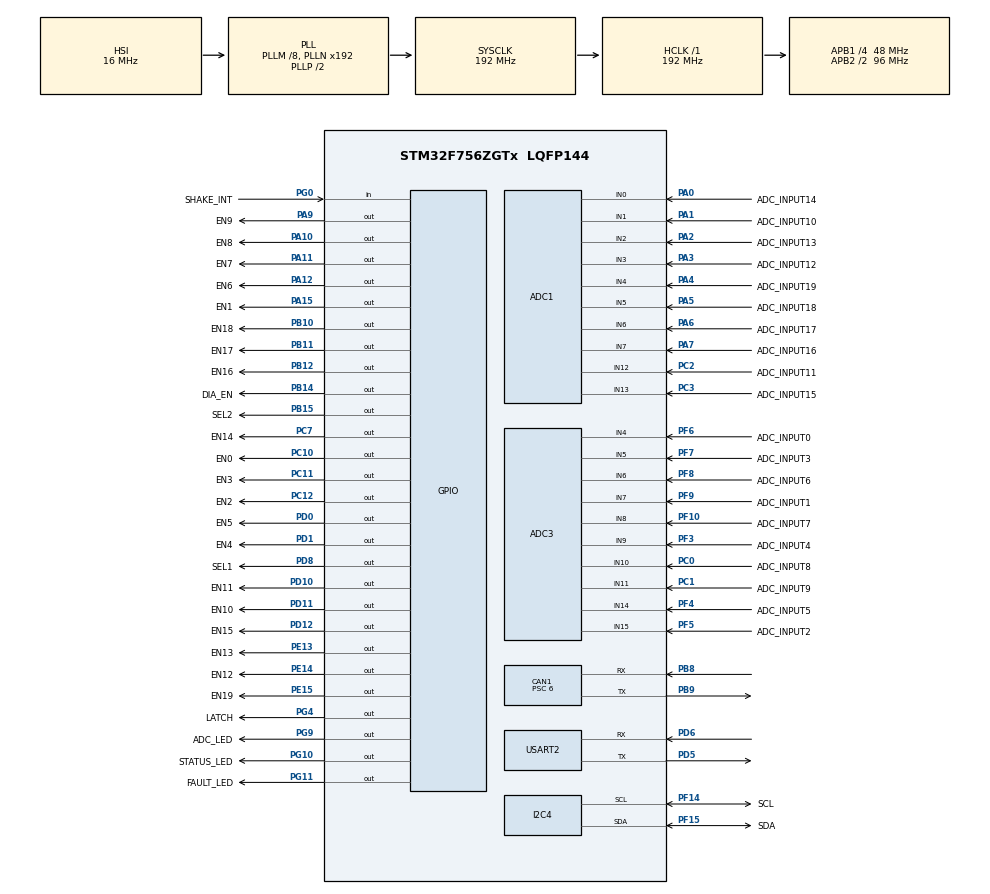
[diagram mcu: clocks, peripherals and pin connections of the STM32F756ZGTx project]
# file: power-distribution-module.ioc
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ADC1.Channel-10\#ChannelRegularConversion=ADC_CHANNEL_7
ADC1.Channel-11\#ChannelRegularConversion=ADC_CHANNEL_12
ADC1.Channel-12\#ChannelRegularConversion=ADC_CHANNEL_13
ADC1.Channel-2\#ChannelRegularConversion=ADC_CHANNEL_0
ADC1.Channel-3\#ChannelRegularConversion=ADC_CHANNEL_1
ADC1.Channel-4\#ChannelRegularConversion=ADC_CHANNEL_2
ADC1.Channel-5\#ChannelRegularConversion=ADC_CHANNEL_3
ADC1.Channel-6\#ChannelRegularConversion=ADC_CHANNEL_4
ADC1.Channel-8\#ChannelRegularConversion=ADC_CHANNEL_5
ADC1.Channel-9\#ChannelRegularConversion=ADC_CHANNEL_6
ADC1.ClockPrescaler=ADC_CLOCK_SYNC_PCLK_DIV4
ADC1.ContinuousConvMode=ENABLE
ADC1.DMAContinuousRequests=ENABLE
ADC1.DiscontinuousConvMode=DISABLE
ADC1.EOCSelection=ADC_EOC_SEQ_CONV
ADC1.NbrOfConversion=10
ADC1.NbrOfConversionFlag=1
ADC1.Rank-10\#ChannelRegularConversion=8
ADC1.Rank-11\#ChannelRegularConversion=9
ADC1.Rank-12\#ChannelRegularConversion=10
ADC1.Rank-2\#ChannelRegularConversion=1
ADC1.Rank-3\#ChannelRegularConversion=2
ADC1.Rank-4\#ChannelRegularConversion=3
ADC1.Rank-5\#ChannelRegularConversion=4
ADC1.Rank-6\#ChannelRegularConversion=5
ADC1.Rank-8\#ChannelRegularConversion=6
ADC1.Rank-9\#ChannelRegularConversion=7
ADC1.SamplingTime-10\#ChannelRegularConversion=ADC_SAMPLETIME_15CYCLES
ADC1.SamplingTime-11\#ChannelRegularConversion=ADC_SAMPLETIME_15CYCLES
ADC1.SamplingTime-12\#ChannelRegularConversion=ADC_SAMPLETIME_15CYCLES
ADC1.SamplingTime-2\#ChannelRegularConversion=ADC_SAMPLETIME_15CYCLES
ADC1.SamplingTime-3\#ChannelRegularConversion=ADC_SAMPLETIME_15CYCLES
ADC1.SamplingTime-4\#ChannelRegularConversion=ADC_SAMPLETIME_15CYCLES
ADC1.SamplingTime-5\#ChannelRegularConversion=ADC_SAMPLETIME_15CYCLES
ADC1.SamplingTime-6\#ChannelRegularConversion=ADC_SAMPLETIME_15CYCLES
ADC1.SamplingTime-8\#ChannelRegularConversion=ADC_SAMPLETIME_15CYCLES
ADC1.SamplingTime-9\#ChannelRegularConversion=ADC_SAMPLETIME_15CYCLES
ADC1.ScanConvMode=ADC_SCAN_ENABLE
ADC1.master=1
ADC3.Channel-0\#ChannelRegularConversion=ADC_CHANNEL_4
ADC3.Channel-1\#ChannelRegularConversion=ADC_CHANNEL_5
ADC3.Channel-2\#ChannelRegularConversion=ADC_CHANNEL_6
ADC3.Channel-3\#ChannelRegularConversion=ADC_CHANNEL_7
ADC3.Channel-4\#ChannelRegularConversion=ADC_CHANNEL_8
ADC3.Channel-5\#ChannelRegularConversion=ADC_CHANNEL_9
ADC3.Channel-6\#ChannelRegularConversion=ADC_CHANNEL_10
ADC3.Channel-7\#ChannelRegularConversion=ADC_CHANNEL_11
ADC3.Channel-8\#ChannelRegularConversion=ADC_CHANNEL_14
ADC3.Channel-9\#ChannelRegularConversion=ADC_CHANNEL_15
ADC3.ClockPrescaler=ADC_CLOCK_SYNC_PCLK_DIV4
ADC3.ContinuousConvMode=ENABLE
ADC3.DMAContinuousRequests=ENABLE
ADC3.DataAlign=ADC_DATAALIGN_RIGHT
ADC3.DiscontinuousConvMode=DISABLE
ADC3.EOCSelection=ADC_EOC_SINGLE_CONV
ADC3.InjNumberOfConversion=0
ADC3.NbrOfConversion=10
ADC3.NbrOfConversionFlag=1
ADC3.Rank-0\#ChannelRegularConversion=1
ADC3.Rank-1\#ChannelRegularConversion=2
ADC3.Rank-2\#ChannelRegularConversion=3
ADC3.Rank-3\#ChannelRegularConversion=4
ADC3.Rank-4\#ChannelRegularConversion=5
ADC3.Rank-5\#ChannelRegularConversion=6
ADC3.Rank-6\#ChannelRegularConversion=7
ADC3.Rank-7\#ChannelRegularConversion=8
ADC3.Rank-8\#ChannelRegularConversion=9
ADC3.Rank-9\#ChannelRegularConversion=10
ADC3.SamplingTime-0\#ChannelRegularConversion=ADC_SAMPLETIME_15CYCLES
ADC3.SamplingTime-1\#ChannelRegularConversion=ADC_SAMPLETIME_15CYCLES
ADC3.SamplingTime-2\#ChannelRegularConversion=ADC_SAMPLETIME_15CYCLES
ADC3.SamplingTime-3\#ChannelRegularConversion=ADC_SAMPLETIME_15CYCLES
ADC3.SamplingTime-4\#ChannelRegularConversion=ADC_SAMPLETIME_15CYCLES
ADC3.SamplingTime-5\#ChannelRegularConversion=ADC_SAMPLETIME_15CYCLES
ADC3.SamplingTime-6\#ChannelRegularConversion=ADC_SAMPLETIME_15CYCLES
ADC3.SamplingTime-7\#ChannelRegularConversion=ADC_SAMPLETIME_15CYCLES
ADC3.SamplingTime-8\#ChannelRegularConversion=ADC_SAMPLETIME_15CYCLES
ADC3.SamplingTime-9\#ChannelRegularConversion=ADC_SAMPLETIME_15CYCLES
ADC3.ScanConvMode=ADC_SCAN_ENABLE
CAN1.ABOM=ENABLE
CAN1.AWUM=ENABLE
CAN1.BS1=CAN_BS1_6TQ
CAN1.CalculateBaudRate=1000000
CAN1.CalculateTimeBit=1000
CAN1.CalculateTimeQuantum=125.0
CAN1.Mode=CAN_MODE_NORMAL
CAN1.Prescaler=6
Dma.ADC1.0.Direction=DMA_PERIPH_TO_MEMORY
Dma.ADC1.0.FIFOMode=DMA_FIFOMODE_DISABLE
Dma.ADC1.0.Instance=DMA2_Stream0
Dma.ADC1.0.MemDataAlignment=DMA_MDATAALIGN_HALFWORD
Dma.ADC1.0.MemInc=DMA_MINC_ENABLE
Dma.ADC1.0.Mode=DMA_CIRCULAR
Dma.ADC1.0.PeriphDataAlignment=DMA_PDATAALIGN_HALFWORD
Dma.ADC1.0.PeriphInc=DMA_PINC_DISABLE
Dma.ADC1.0.Priority=DMA_PRIORITY_HIGH
Dma.ADC3.1.Direction=DMA_PERIPH_TO_MEMORY
Dma.ADC3.1.FIFOMode=DMA_FIFOMODE_DISABLE
Dma.ADC3.1.Instance=DMA2_Stream1
Dma.ADC3.1.MemDataAlignment=DMA_MDATAALIGN_HALFWORD
Dma.ADC3.1.MemInc=DMA_MINC_ENABLE
Dma.ADC3.1.Mode=DMA_CIRCULAR
Dma.ADC3.1.PeriphDataAlignment=DMA_PDATAALIGN_HALFWORD
Dma.ADC3.1.PeriphInc=DMA_PINC_DISABLE
Dma.ADC3.1.Priority=DMA_PRIORITY_LOW
Dma.Request0=ADC1
Dma.Request1=ADC3
FREERTOS.Tasks01=taskMain_Loop,0,256,task_main_loop,Default,NULL,Dynamic,NULL,NULL;taskGCAN_TX,0,256,taskGCAN_TX_loop,Default,NULL,Dynamic,NULL,NULL;taskGCAN_RX,-3,256,taskGCAN_RX_loop,Default,NULL,Dynamic,NULL,NULL
FREERTOS.configMINIMAL_STACK_SIZE=256
FREERTOS.configTOTAL_HEAP_SIZE=10000
FREERTOS.configUSE_NEWLIB_REENTRANT=1
I2C4.Timing=0x20303E5D
Mcu.Family=STM32F7
Mcu.Name=STM32F756ZGTx
Mcu.Package=LQFP144
NVIC.CAN1_RX0_IRQn=true\:5\:0\:false\:false\:true\:true\:true\:true\:true
NVIC.CAN1_RX1_IRQn=true\:5\:0\:false\:false\:true\:true\:true\:true\:true
NVIC.CAN1_TX_IRQn=true\:5\:0\:false\:false\:true\:true\:true\:true\:true
NVIC.DMA2_Stream0_IRQn=true\:5\:0\:false\:false\:true\:false\:false\:true\:true
NVIC.DMA2_Stream1_IRQn=true\:5\:0\:false\:false\:true\:false\:false\:true\:true
NVIC.PriorityGroup=NVIC_PRIORITYGROUP_4
NVIC.TIM1_UP_TIM10_IRQn=true\:5\:0\:false\:false\:true\:true\:true\:true\:true
NVIC.TIM6_DAC_IRQn=true\:0\:0\:false\:false\:true\:false\:false\:true\:true
NVIC.TimeBase=TIM6_DAC_IRQn
NVIC.TimeBaseIP=TIM6
PA0/WKUP.GPIO_Label=ADC_INPUT14
PA0/WKUP.Signal=ADCx_IN0
PA1.GPIO_Label=ADC_INPUT10
PA1.Signal=ADCx_IN1
PA10.GPIO_Label=EN8
PA10.Signal=GPIO_Output
PA11.GPIO_Label=EN7
PA11.Signal=GPIO_Output
PA12.GPIO_Label=EN6
PA12.Signal=GPIO_Output
PA13.Mode=Trace_Asynchronous_SW
PA13.Signal=SYS_JTMS-SWDIO
PA14.Mode=Trace_Asynchronous_SW
PA14.Signal=SYS_JTCK-SWCLK
PA15.GPIO_Label=EN1
PA15.Signal=GPIO_Output
PA2.GPIO_Label=ADC_INPUT13
PA2.Signal=ADCx_IN2
PA3.GPIO_Label=ADC_INPUT12
PA3.Signal=ADCx_IN3
PA4.GPIO_Label=ADC_INPUT19
PA4.Signal=ADCx_IN4
PA5.GPIO_Label=ADC_INPUT18
PA5.Signal=ADCx_IN5
PA6.GPIO_Label=ADC_INPUT17
PA6.Signal=ADCx_IN6
PA7.GPIO_Label=ADC_INPUT16
PA7.Signal=ADCx_IN7
PA9.GPIO_Label=EN9
PA9.Signal=GPIO_Output
PB10.GPIO_Label=EN18
PB10.Signal=GPIO_Output
PB11.GPIO_Label=EN17
PB11.Signal=GPIO_Output
PB12.GPIO_Label=EN16
PB12.Signal=GPIO_Output
PB14.GPIO_Label=DIA_EN
PB14.Signal=GPIO_Output
PB15.GPIO_Label=SEL2
PB15.Signal=GPIO_Output
PB3.Mode=Trace_Asynchronous_SW
PB3.Signal=SYS_JTDO-SWO
PB8.Mode=CAN_Activate
PB8.Signal=CAN1_RX
PB9.Mode=CAN_Activate
PB9.Signal=CAN1_TX
PC0.GPIO_Label=ADC_INPUT8
PC0.Signal=ADCx_IN10
PC1.GPIO_Label=ADC_INPUT9
PC1.Signal=ADCx_IN11
PC10.GPIO_Label=EN0
PC10.Signal=GPIO_Output
PC11.GPIO_Label=EN3
PC11.Signal=GPIO_Output
PC12.GPIO_Label=EN2
PC12.Signal=GPIO_Output
PC2.GPIO_Label=ADC_INPUT11
PC2.Signal=ADCx_IN12
PC3.GPIO_Label=ADC_INPUT15
PC3.Signal=ADCx_IN13
PC7.GPIO_Label=EN14
PC7.Signal=GPIO_Output
PD0.GPIO_Label=EN5
PD0.Signal=GPIO_Output
PD1.GPIO_Label=EN4
PD1.Signal=GPIO_Output
PD10.GPIO_Label=EN11
PD10.Signal=GPIO_Output
PD11.GPIO_Label=EN10
PD11.Signal=GPIO_Output
PD12.GPIO_Label=EN15
PD12.Signal=GPIO_Output
PD5.Mode=Asynchronous
PD5.Signal=USART2_TX
PD6.Mode=Asynchronous
PD6.Signal=USART2_RX
PD8.GPIO_Label=SEL1
PD8.Signal=GPIO_Output
PE13.GPIO_Label=EN13
PE13.Signal=GPIO_Output
PE14.GPIO_Label=EN12
PE14.Signal=GPIO_Output
PE15.GPIO_Label=EN19
PE15.Signal=GPIO_Output
PF10.GPIO_Label=ADC_INPUT7
PF10.Mode=IN8
PF10.Signal=ADC3_IN8
PF14.GPIO_Label=SCL
PF14.GPIO_Pu=GPIO_PULLUP
PF14.Mode=I2C
PF14.Signal=I2C4_SCL
PF15.GPIO_Label=SDA
PF15.GPIO_Pu=GPIO_PULLUP
PF15.Mode=I2C
PF15.Signal=I2C4_SDA
PF3.GPIO_Label=ADC_INPUT4
PF3.Mode=IN9
PF3.Signal=ADC3_IN9
PF4.GPIO_Label=ADC_INPUT5
PF4.Mode=IN14
PF4.Signal=ADC3_IN14
PF5.GPIO_Label=ADC_INPUT2
PF5.Mode=IN15
PF5.Signal=ADC3_IN15
PF6.GPIO_Label=ADC_INPUT0
PF6.Mode=IN4
PF6.Signal=ADC3_IN4
PF7.GPIO_Label=ADC_INPUT3
PF7.Mode=IN5
PF7.Signal=ADC3_IN5
PF8.GPIO_Label=ADC_INPUT6
PF8.Mode=IN6
PF8.Signal=ADC3_IN6
PF9.GPIO_Label=ADC_INPUT1
PF9.Mode=IN7
PF9.Signal=ADC3_IN7
PG0.GPIO_Label=SHAKE_INT
PG0.Signal=GPIO_Input
PG10.GPIO_Label=STATUS_LED
PG10.Signal=GPIO_Output
PG11.GPIO_Label=FAULT_LED
PG11.Signal=GPIO_Output
PG4.GPIO_Label=LATCH
PG4.Signal=GPIO_Output
PG9.GPIO_Label=ADC_LED
PG9.Signal=GPIO_Output
PH0/OSC_IN.Mode=HSE-External-Clock-Source
PH0/OSC_IN.Signal=RCC_OSC_IN
PH1/OSC_OUT.Mode=HSE-External-Clock-Source
PH1/OSC_OUT.Signal=RCC_OSC_OUT
ProjectManager.HeapSize=0x200
ProjectManager.StackSize=0x400
ProjectManager.TargetToolchain=STM32CubeIDE
RCC.AHBFreq_Value=192000000
RCC.APB1CLKDivider=RCC_HCLK_DIV4
RCC.APB1Freq_Value=48000000
RCC.APB1TimFreq_Value=96000000
RCC.APB2CLKDivider=RCC_HCLK_DIV2
RCC.APB2Freq_Value=96000000
RCC.APB2TimFreq_Value=192000000
RCC.CortexFreq_Value=192000000
RCC.HCLKFreq_Value=192000000
RCC.HSE_VALUE=24000000
RCC.HSI_VALUE=16000000
RCC.LSE_VALUE=32768
RCC.PLLM=8
RCC.SYSCLKFreq_VALUE=192000000
RCC.SYSCLKSource=RCC_SYSCLKSOURCE_PLLCLK
RCC.USBFreq_Value=192000000
RCC.VCOOutputFreq_Value=384000000
SH.ADCx_IN0.0=ADC1_IN0,IN0
SH.ADCx_IN1.0=ADC1_IN1,IN1
SH.ADCx_IN10.0=ADC3_IN10,IN10
SH.ADCx_IN11.0=ADC3_IN11,IN11
SH.ADCx_IN12.0=ADC1_IN12,IN12
SH.ADCx_IN13.0=ADC1_IN13,IN13
SH.ADCx_IN2.0=ADC1_IN2,IN2
SH.ADCx_IN3.0=ADC1_IN3,IN3
SH.ADCx_IN4.0=ADC1_IN4,IN4
SH.ADCx_IN5.0=ADC1_IN5,IN5
SH.ADCx_IN6.0=ADC1_IN6,IN6
SH.ADCx_IN7.0=ADC1_IN7,IN7
TIM2.AutoReloadPreload=TIM_AUTORELOAD_PRELOAD_DISABLE
TIM2.Period=4294967295
TIM2.Prescaler=96-1
USART2.VirtualMode-Asynchronous=VM_ASYNC
VP_FREERTOS_VS_CMSIS_V1.Mode=CMSIS_V1
VP_SYS_VS_tim6.Mode=TIM6
VP_TIM10_VS_ClockSourceINT.Mode=Enable_Timer
VP_TIM2_VS_ClockSourceINT.Mode=Internal
board=custom

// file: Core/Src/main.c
/* USER CODE BEGIN Header */
/**
  ******************************************************************************
  * @file           : main.c
  * @brief          : Main program body
  ******************************************************************************
  * @attention
  *
  * <h2><center>&copy; Copyright (c) 2022 STMicroelectronics.
  * All rights reserved.</center></h2>
  *
  * This software component is licensed by ST under Ultimate Liberty license
  * SLA0044, the "License"; You may not use this file except in compliance with
  * the License. You may obtain a copy of the License at:
  *                             www.st.com/SLA0044
  *
  ******************************************************************************
  */
/* USER CODE END Header */
#include "main.h"
#include "cmsis_os.h"

/* USER CODE BEGIN Includes */
//TODO: init can
//TODO: init gopher sense (dam_init)
//TODO: config gopher sense to send currents
//TODO: tell when to send currents
// tcm is good example
#include "DAM.h"
#include <string.h>
#include <stdio.h>
#include <stdlib.h>

/* USER CODE END Includes */

/* USER CODE BEGIN PD */
#define STD_DELAY 100
// sns pin 500 ohm
/* USER CODE END PD */

ADC_HandleTypeDef hadc1;
ADC_HandleTypeDef hadc3;
DMA_HandleTypeDef hdma_adc1;
DMA_HandleTypeDef hdma_adc3;

CAN_HandleTypeDef hcan1;

I2C_HandleTypeDef hi2c4;

TIM_HandleTypeDef htim2;
TIM_HandleTypeDef htim10;

UART_HandleTypeDef huart2;

osThreadId taskMain_LoopHandle;
osThreadId taskGCAN_TXHandle;
osThreadId taskGCAN_RXHandle;

void SystemClock_Config(void);
static void MX_GPIO_Init(void);
static void MX_DMA_Init(void);
static void MX_CAN1_Init(void);
static void MX_ADC1_Init(void);
static void MX_ADC3_Init(void);
static void MX_I2C4_Init(void);
static void MX_TIM2_Init(void);
static void MX_USART2_UART_Init(void);
static void MX_TIM10_Init(void);
void task_main_loop(void const * argument);
void taskGCAN_TX_loop(void const * argument);
void taskGCAN_RX_loop(void const * argument);

/* USER CODE BEGIN 0 */

//uint16_t adc1_buf[3000];
//uint16_t adc3_buf[3000];
CAN_HandleTypeDef* example_hcan;

/* Status of Channels
 * Software Fault = 1 (ADC more than 90%)
 * Normal : 0
 *
 * More states to be implemented
 */
uint16_t channelStatus[] = {0,0,0,0,0,0,0,0,0,0,0,0,0,0,0,0,0,0,0,0};

/* Essential Channels must hard fault on the switch, no software current protection
 *
 * The switch hard faults after 20A on these channels
 * These channels keep the engine running even if there is a software over-current or fault
 * It includes ECU, TCM, BSPD, Pumps, Spark Plug and Injectors
 *
 */
uint16_t essentialChannels[] = {1,2,3,8,11,16,18};

GPIO_TypeDef* enable_GPIO_port[] = {EN0_GPIO_Port,EN1_GPIO_Port,EN2_GPIO_Port,EN3_GPIO_Port,EN4_GPIO_Port,
		                            EN5_GPIO_Port,EN6_GPIO_Port,EN7_GPIO_Port,EN8_GPIO_Port,EN9_GPIO_Port,
		                            EN10_GPIO_Port,EN11_GPIO_Port,EN12_GPIO_Port,EN13_GPIO_Port,EN14_GPIO_Port,
		                            EN15_GPIO_Port,EN16_GPIO_Port,EN17_GPIO_Port,EN18_GPIO_Port,EN19_GPIO_Port};

uint16_t enable_pin[] = {EN0_Pin,EN1_Pin,EN2_Pin,EN3_Pin,EN4_Pin,
		                 EN5_Pin,EN6_Pin,EN7_Pin,EN8_Pin,EN9_Pin,
		                 EN10_Pin,EN11_Pin,EN12_Pin,EN13_Pin,EN14_Pin,
		                 EN15_Pin,EN16_Pin,EN17_Pin,EN18_Pin,EN19_Pin};

/* Resistor value in kOhm for sense functions */

float currentSense(uint16_t adc, uint16_t resistor)
{
    /* Returns channel current in mA */
	if(adc>4095) return 0;
	return (float) (3.3*adc*4600)/(4095*resistor);
}

float voltageSense(uint16_t adc, uint16_t resistor){
	/* Returns rail voltage in V */
	if(adc>4095) return 0;
	return (float) (3.3*adc)/(4095*resistor*0.0867);

}

float tempSense(uint16_t adc, uint16_t resistor){
	/* Returns switch temperature in °C */
	if(adc>4095) return 0;
	return (float) (((3.3*adc)/(4095*resistor))/0.0112 + 25.0);

}

void setCurrentSense()
{  //Fault sense
	HAL_GPIO_WritePin(SEL1_GPIO_Port, SEL1_Pin, RESET);
    HAL_GPIO_WritePin(SEL2_GPIO_Port, SEL2_Pin, RESET);
}
void setVoltageSense(){
	HAL_GPIO_WritePin(SEL1_GPIO_Port, SEL1_Pin, SET);
    HAL_GPIO_WritePin(SEL2_GPIO_Port, SEL2_Pin, SET);
}
void setTempSense(){
	HAL_GPIO_WritePin(SEL1_GPIO_Port, SEL1_Pin, SET);
	HAL_GPIO_WritePin(SEL2_GPIO_Port, SEL2_Pin, RESET);
}

/* USER CODE END 0 */

int main(void)
{

  /* MCU Configuration--------------------------------------------------------*/

  /* Reset of all peripherals, Initializes the Flash interface and the Systick. */
  HAL_Init();

  /* Configure the system clock */
  SystemClock_Config();

  /* Initialize all configured peripherals */
  MX_GPIO_Init();
  MX_DMA_Init();
  MX_CAN1_Init();
  MX_ADC1_Init();
  MX_ADC3_Init();
  MX_I2C4_Init();
  MX_TIM2_Init();
  MX_USART2_UART_Init();
  MX_TIM10_Init();
  /* USER CODE BEGIN 2 */

  	// init can
  	init_can(&hcan1, PDM_ID, BXTYPE_MASTER);
  	// init gopher sense
  	// need to properly configure
  	DAM_init(&hcan1, NULL, &hadc1, NULL, &hadc3, &htim10, STATUS_LED_GPIO_Port, STATUS_LED_Pin);

	HAL_GPIO_WritePin(DIA_EN_GPIO_Port, DIA_EN_Pin, SET);

	HAL_GPIO_WritePin(EN0_GPIO_Port,  EN0_Pin,  SET);
	HAL_GPIO_WritePin(EN1_GPIO_Port,  EN1_Pin,  SET);
	HAL_GPIO_WritePin(EN2_GPIO_Port,  EN2_Pin,  SET);
	HAL_GPIO_WritePin(EN3_GPIO_Port,  EN3_Pin,  SET);
	HAL_GPIO_WritePin(EN4_GPIO_Port,  EN4_Pin,  SET);
	HAL_GPIO_WritePin(EN5_GPIO_Port,  EN5_Pin,  SET);
	HAL_GPIO_WritePin(EN6_GPIO_Port,  EN6_Pin,  SET);
	HAL_GPIO_WritePin(EN7_GPIO_Port,  EN7_Pin,  SET);
	HAL_GPIO_WritePin(EN8_GPIO_Port,  EN8_Pin,  SET);
	HAL_GPIO_WritePin(EN9_GPIO_Port,  EN9_Pin,  SET);
	HAL_GPIO_WritePin(EN10_GPIO_Port, EN10_Pin, SET);
	HAL_GPIO_WritePin(EN11_GPIO_Port, EN11_Pin, SET);
	HAL_GPIO_WritePin(EN12_GPIO_Port, EN12_Pin, SET);
	HAL_GPIO_WritePin(EN13_GPIO_Port, EN13_Pin, SET);
	HAL_GPIO_WritePin(EN14_GPIO_Port, EN14_Pin, SET);
	HAL_GPIO_WritePin(EN15_GPIO_Port, EN15_Pin, SET);
	HAL_GPIO_WritePin(EN16_GPIO_Port, EN16_Pin, SET);
	HAL_GPIO_WritePin(EN17_GPIO_Port, EN17_Pin, SET);
	HAL_GPIO_WritePin(EN18_GPIO_Port, EN18_Pin, SET);
	HAL_GPIO_WritePin(EN19_GPIO_Port, EN19_Pin, SET);

	setCurrentSense();

  /* USER CODE END 2 */

  /* Create the thread(s) */
  /* definition and creation of taskMain_Loop */
  osThreadDef(taskMain_Loop, task_main_loop, osPriorityNormal, 0, 256);
  taskMain_LoopHandle = osThreadCreate(osThread(taskMain_Loop), NULL);

  /* definition and creation of taskGCAN_TX */
  osThreadDef(taskGCAN_TX, taskGCAN_TX_loop, osPriorityNormal, 0, 256);
  taskGCAN_TXHandle = osThreadCreate(osThread(taskGCAN_TX), NULL);

  /* definition and creation of taskGCAN_RX */
  osThreadDef(taskGCAN_RX, taskGCAN_RX_loop, osPriorityIdle, 0, 256);
  taskGCAN_RXHandle = osThreadCreate(osThread(taskGCAN_RX), NULL);

  /* Start scheduler */
  osKernelStart();

  /* We should never get here as control is now taken by the scheduler */
  /* Infinite loop */
  while (1)
  {

  }
}

void SystemClock_Config(void)
{
  RCC_OscInitTypeDef RCC_OscInitStruct = {0};
  RCC_ClkInitTypeDef RCC_ClkInitStruct = {0};

  /** Configure the main internal regulator output voltage
  */
  __HAL_RCC_PWR_CLK_ENABLE();
  __HAL_PWR_VOLTAGESCALING_CONFIG(PWR_REGULATOR_VOLTAGE_SCALE1);

  /** Initializes the RCC Oscillators according to the specified parameters
  * in the RCC_OscInitTypeDef structure.
  */
  RCC_OscInitStruct.OscillatorType = RCC_OSCILLATORTYPE_HSI;
  RCC_OscInitStruct.HSIState = RCC_HSI_ON;
  RCC_OscInitStruct.HSICalibrationValue = RCC_HSICALIBRATION_DEFAULT;
  RCC_OscInitStruct.PLL.PLLState = RCC_PLL_ON;
  RCC_OscInitStruct.PLL.PLLSource = RCC_PLLSOURCE_HSI;
  RCC_OscInitStruct.PLL.PLLM = 8;
  RCC_OscInitStruct.PLL.PLLN = 192;
  RCC_OscInitStruct.PLL.PLLP = RCC_PLLP_DIV2;
  RCC_OscInitStruct.PLL.PLLQ = 2;
  if (HAL_RCC_OscConfig(&RCC_OscInitStruct) != HAL_OK)
  {
    Error_Handler();
  }

  /** Activate the Over-Drive mode
  */
  if (HAL_PWREx_EnableOverDrive() != HAL_OK)
  {
    Error_Handler();
  }

  /** Initializes the CPU, AHB and APB buses clocks
  */
  RCC_ClkInitStruct.ClockType = RCC_CLOCKTYPE_HCLK|RCC_CLOCKTYPE_SYSCLK
                              |RCC_CLOCKTYPE_PCLK1|RCC_CLOCKTYPE_PCLK2;
  RCC_ClkInitStruct.SYSCLKSource = RCC_SYSCLKSOURCE_PLLCLK;
  RCC_ClkInitStruct.AHBCLKDivider = RCC_SYSCLK_DIV1;
  RCC_ClkInitStruct.APB1CLKDivider = RCC_HCLK_DIV4;
  RCC_ClkInitStruct.APB2CLKDivider = RCC_HCLK_DIV2;

  if (HAL_RCC_ClockConfig(&RCC_ClkInitStruct, FLASH_LATENCY_6) != HAL_OK)
  {
    Error_Handler();
  }
}

static void MX_ADC1_Init(void)
{

  ADC_ChannelConfTypeDef sConfig = {0};

  /** Configure the global features of the ADC (Clock, Resolution, Data Alignment and number of conversion)
  */
  hadc1.Instance = ADC1;
  hadc1.Init.ClockPrescaler = ADC_CLOCK_SYNC_PCLK_DIV4;
  hadc1.Init.Resolution = ADC_RESOLUTION_12B;
  hadc1.Init.ScanConvMode = ADC_SCAN_ENABLE;
  hadc1.Init.ContinuousConvMode = ENABLE;
  hadc1.Init.DiscontinuousConvMode = DISABLE;
  hadc1.Init.ExternalTrigConvEdge = ADC_EXTERNALTRIGCONVEDGE_NONE;
  hadc1.Init.ExternalTrigConv = ADC_SOFTWARE_START;
  hadc1.Init.DataAlign = ADC_DATAALIGN_RIGHT;
  hadc1.Init.NbrOfConversion = 10;
  hadc1.Init.DMAContinuousRequests = ENABLE;
  hadc1.Init.EOCSelection = ADC_EOC_SEQ_CONV;
  if (HAL_ADC_Init(&hadc1) != HAL_OK)
  {
    Error_Handler();
  }

  /** Configure for the selected ADC regular channel its corresponding rank in the sequencer and its sample time.
  */
  sConfig.Channel = ADC_CHANNEL_0;
  sConfig.Rank = ADC_REGULAR_RANK_1;
  sConfig.SamplingTime = ADC_SAMPLETIME_15CYCLES;
  if (HAL_ADC_ConfigChannel(&hadc1, &sConfig) != HAL_OK)
  {
    Error_Handler();
  }

  /** Configure for the selected ADC regular channel its corresponding rank in the sequencer and its sample time.
  */
  sConfig.Channel = ADC_CHANNEL_1;
  sConfig.Rank = ADC_REGULAR_RANK_2;
  if (HAL_ADC_ConfigChannel(&hadc1, &sConfig) != HAL_OK)
  {
    Error_Handler();
  }

  /** Configure for the selected ADC regular channel its corresponding rank in the sequencer and its sample time.
  */
  sConfig.Channel = ADC_CHANNEL_2;
  sConfig.Rank = ADC_REGULAR_RANK_3;
  if (HAL_ADC_ConfigChannel(&hadc1, &sConfig) != HAL_OK)
  {
    Error_Handler();
  }

  /** Configure for the selected ADC regular channel its corresponding rank in the sequencer and its sample time.
  */
  sConfig.Channel = ADC_CHANNEL_3;
  sConfig.Rank = ADC_REGULAR_RANK_4;
  if (HAL_ADC_ConfigChannel(&hadc1, &sConfig) != HAL_OK)
  {
    Error_Handler();
  }

  /** Configure for the selected ADC regular channel its corresponding rank in the sequencer and its sample time.
  */
  sConfig.Channel = ADC_CHANNEL_4;
  sConfig.Rank = ADC_REGULAR_RANK_5;
  if (HAL_ADC_ConfigChannel(&hadc1, &sConfig) != HAL_OK)
  {
    Error_Handler();
  }

  /** Configure for the selected ADC regular channel its corresponding rank in the sequencer and its sample time.
  */
  sConfig.Channel = ADC_CHANNEL_5;
  sConfig.Rank = ADC_REGULAR_RANK_6;
  if (HAL_ADC_ConfigChannel(&hadc1, &sConfig) != HAL_OK)
  {
    Error_Handler();
  }

  /** Configure for the selected ADC regular channel its corresponding rank in the sequencer and its sample time.
  */
  sConfig.Channel = ADC_CHANNEL_6;
  sConfig.Rank = ADC_REGULAR_RANK_7;
  if (HAL_ADC_ConfigChannel(&hadc1, &sConfig) != HAL_OK)
  {
    Error_Handler();
  }

  /** Configure for the selected ADC regular channel its corresponding rank in the sequencer and its sample time.
  */
  sConfig.Channel = ADC_CHANNEL_7;
  sConfig.Rank = ADC_REGULAR_RANK_8;
  if (HAL_ADC_ConfigChannel(&hadc1, &sConfig) != HAL_OK)
  {
    Error_Handler();
  }

  /** Configure for the selected ADC regular channel its corresponding rank in the sequencer and its sample time.
  */
  sConfig.Channel = ADC_CHANNEL_12;
  sConfig.Rank = ADC_REGULAR_RANK_9;
  if (HAL_ADC_ConfigChannel(&hadc1, &sConfig) != HAL_OK)
  {
    Error_Handler();
  }

  /** Configure for the selected ADC regular channel its corresponding rank in the sequencer and its sample time.
  */
  sConfig.Channel = ADC_CHANNEL_13;
  sConfig.Rank = ADC_REGULAR_RANK_10;
  if (HAL_ADC_ConfigChannel(&hadc1, &sConfig) != HAL_OK)
  {
    Error_Handler();
  }

}

static void MX_ADC3_Init(void)
{

  ADC_ChannelConfTypeDef sConfig = {0};

  /** Configure the global features of the ADC (Clock, Resolution, Data Alignment and number of conversion)
  */
  hadc3.Instance = ADC3;
  hadc3.Init.ClockPrescaler = ADC_CLOCK_SYNC_PCLK_DIV4;
  hadc3.Init.Resolution = ADC_RESOLUTION_12B;
  hadc3.Init.ScanConvMode = ADC_SCAN_ENABLE;
  hadc3.Init.ContinuousConvMode = ENABLE;
  hadc3.Init.DiscontinuousConvMode = DISABLE;
  hadc3.Init.ExternalTrigConvEdge = ADC_EXTERNALTRIGCONVEDGE_NONE;
  hadc3.Init.ExternalTrigConv = ADC_SOFTWARE_START;
  hadc3.Init.DataAlign = ADC_DATAALIGN_RIGHT;
  hadc3.Init.NbrOfConversion = 10;
  hadc3.Init.DMAContinuousRequests = ENABLE;
  hadc3.Init.EOCSelection = ADC_EOC_SINGLE_CONV;
  if (HAL_ADC_Init(&hadc3) != HAL_OK)
  {
    Error_Handler();
  }

  /** Configure for the selected ADC regular channel its corresponding rank in the sequencer and its sample time.
  */
  sConfig.Channel = ADC_CHANNEL_4;
  sConfig.Rank = ADC_REGULAR_RANK_1;
  sConfig.SamplingTime = ADC_SAMPLETIME_15CYCLES;
  if (HAL_ADC_ConfigChannel(&hadc3, &sConfig) != HAL_OK)
  {
    Error_Handler();
  }

  /** Configure for the selected ADC regular channel its corresponding rank in the sequencer and its sample time.
  */
  sConfig.Channel = ADC_CHANNEL_5;
  sConfig.Rank = ADC_REGULAR_RANK_2;
  if (HAL_ADC_ConfigChannel(&hadc3, &sConfig) != HAL_OK)
  {
    Error_Handler();
  }

  /** Configure for the selected ADC regular channel its corresponding rank in the sequencer and its sample time.
  */
  sConfig.Channel = ADC_CHANNEL_6;
  sConfig.Rank = ADC_REGULAR_RANK_3;
  if (HAL_ADC_ConfigChannel(&hadc3, &sConfig) != HAL_OK)
  {
    Error_Handler();
  }

  /** Configure for the selected ADC regular channel its corresponding rank in the sequencer and its sample time.
  */
  sConfig.Channel = ADC_CHANNEL_7;
  sConfig.Rank = ADC_REGULAR_RANK_4;
  if (HAL_ADC_ConfigChannel(&hadc3, &sConfig) != HAL_OK)
  {
    Error_Handler();
  }

  /** Configure for the selected ADC regular channel its corresponding rank in the sequencer and its sample time.
  */
  sConfig.Channel = ADC_CHANNEL_8;
  sConfig.Rank = ADC_REGULAR_RANK_5;
  if (HAL_ADC_ConfigChannel(&hadc3, &sConfig) != HAL_OK)
  {
    Error_Handler();
  }

  /** Configure for the selected ADC regular channel its corresponding rank in the sequencer and its sample time.
  */
  sConfig.Channel = ADC_CHANNEL_9;
  sConfig.Rank = ADC_REGULAR_RANK_6;
  if (HAL_ADC_ConfigChannel(&hadc3, &sConfig) != HAL_OK)
  {
    Error_Handler();
  }

  /** Configure for the selected ADC regular channel its corresponding rank in the sequencer and its sample time.
  */
  sConfig.Channel = ADC_CHANNEL_10;
  sConfig.Rank = ADC_REGULAR_RANK_7;
  if (HAL_ADC_ConfigChannel(&hadc3, &sConfig) != HAL_OK)
  {
    Error_Handler();
  }

  /** Configure for the selected ADC regular channel its corresponding rank in the sequencer and its sample time.
  */
  sConfig.Channel = ADC_CHANNEL_11;
  sConfig.Rank = ADC_REGULAR_RANK_8;
  if (HAL_ADC_ConfigChannel(&hadc3, &sConfig) != HAL_OK)
  {
    Error_Handler();
  }

  /** Configure for the selected ADC regular channel its corresponding rank in the sequencer and its sample time.
  */
  sConfig.Channel = ADC_CHANNEL_14;
  sConfig.Rank = ADC_REGULAR_RANK_9;
  if (HAL_ADC_ConfigChannel(&hadc3, &sConfig) != HAL_OK)
  {
    Error_Handler();
  }

  /** Configure for the selected ADC regular channel its corresponding rank in the sequencer and its sample time.
  */
  sConfig.Channel = ADC_CHANNEL_15;
  sConfig.Rank = ADC_REGULAR_RANK_10;
  if (HAL_ADC_ConfigChannel(&hadc3, &sConfig) != HAL_OK)
  {
    Error_Handler();
  }

}

static void MX_CAN1_Init(void)
{

  hcan1.Instance = CAN1;
  hcan1.Init.Prescaler = 6;
  hcan1.Init.Mode = CAN_MODE_NORMAL;
  hcan1.Init.SyncJumpWidth = CAN_SJW_1TQ;
  hcan1.Init.TimeSeg1 = CAN_BS1_6TQ;
  hcan1.Init.TimeSeg2 = CAN_BS2_1TQ;
  hcan1.Init.TimeTriggeredMode = DISABLE;
  hcan1.Init.AutoBusOff = ENABLE;
  hcan1.Init.AutoWakeUp = ENABLE;
  hcan1.Init.AutoRetransmission = DISABLE;
  hcan1.Init.ReceiveFifoLocked = DISABLE;
  hcan1.Init.TransmitFifoPriority = DISABLE;
  if (HAL_CAN_Init(&hcan1) != HAL_OK)
  {
    Error_Handler();
  }

}

static void MX_I2C4_Init(void)
{

  hi2c4.Instance = I2C4;
  hi2c4.Init.Timing = 0x20303E5D;
  hi2c4.Init.OwnAddress1 = 0;
  hi2c4.Init.AddressingMode = I2C_ADDRESSINGMODE_7BIT;
  hi2c4.Init.DualAddressMode = I2C_DUALADDRESS_DISABLE;
  hi2c4.Init.OwnAddress2 = 0;
  hi2c4.Init.OwnAddress2Masks = I2C_OA2_NOMASK;
  hi2c4.Init.GeneralCallMode = I2C_GENERALCALL_DISABLE;
  hi2c4.Init.NoStretchMode = I2C_NOSTRETCH_DISABLE;
  if (HAL_I2C_Init(&hi2c4) != HAL_OK)
  {
    Error_Handler();
  }

  /** Configure Analogue filter
  */
  if (HAL_I2CEx_ConfigAnalogFilter(&hi2c4, I2C_ANALOGFILTER_ENABLE) != HAL_OK)
  {
    Error_Handler();
  }

  /** Configure Digital filter
  */
  if (HAL_I2CEx_ConfigDigitalFilter(&hi2c4, 0) != HAL_OK)
  {
    Error_Handler();
  }

}

static void MX_TIM2_Init(void)
{

  TIM_ClockConfigTypeDef sClockSourceConfig = {0};
  TIM_MasterConfigTypeDef sMasterConfig = {0};

  htim2.Instance = TIM2;
  htim2.Init.Prescaler = 96-1;
  htim2.Init.CounterMode = TIM_COUNTERMODE_UP;
  htim2.Init.Period = 4294967295;
  htim2.Init.ClockDivision = TIM_CLOCKDIVISION_DIV1;
  htim2.Init.AutoReloadPreload = TIM_AUTORELOAD_PRELOAD_DISABLE;
  if (HAL_TIM_Base_Init(&htim2) != HAL_OK)
  {
    Error_Handler();
  }
  sClockSourceConfig.ClockSource = TIM_CLOCKSOURCE_INTERNAL;
  if (HAL_TIM_ConfigClockSource(&htim2, &sClockSourceConfig) != HAL_OK)
  {
    Error_Handler();
  }
  sMasterConfig.MasterOutputTrigger = TIM_TRGO_RESET;
  sMasterConfig.MasterSlaveMode = TIM_MASTERSLAVEMODE_DISABLE;
  if (HAL_TIMEx_MasterConfigSynchronization(&htim2, &sMasterConfig) != HAL_OK)
  {
    Error_Handler();
  }

}

static void MX_TIM10_Init(void)
{

  htim10.Instance = TIM10;
  htim10.Init.Prescaler = 0;
  htim10.Init.CounterMode = TIM_COUNTERMODE_UP;
  htim10.Init.Period = 65535;
  htim10.Init.ClockDivision = TIM_CLOCKDIVISION_DIV1;
  htim10.Init.AutoReloadPreload = TIM_AUTORELOAD_PRELOAD_DISABLE;
  if (HAL_TIM_Base_Init(&htim10) != HAL_OK)
  {
    Error_Handler();
  }

}

static void MX_USART2_UART_Init(void)
{

  huart2.Instance = USART2;
  huart2.Init.BaudRate = 115200;
  huart2.Init.WordLength = UART_WORDLENGTH_8B;
  huart2.Init.StopBits = UART_STOPBITS_1;
  huart2.Init.Parity = UART_PARITY_NONE;
  huart2.Init.Mode = UART_MODE_TX_RX;
  huart2.Init.HwFlowCtl = UART_HWCONTROL_NONE;
  huart2.Init.OverSampling = UART_OVERSAMPLING_16;
  huart2.Init.OneBitSampling = UART_ONE_BIT_SAMPLE_DISABLE;
  huart2.AdvancedInit.AdvFeatureInit = UART_ADVFEATURE_NO_INIT;
  if (HAL_UART_Init(&huart2) != HAL_OK)
  {
    Error_Handler();
  }

}

static void MX_DMA_Init(void)
{

  /* DMA controller clock enable */
  __HAL_RCC_DMA2_CLK_ENABLE();

  /* DMA interrupt init */
  /* DMA2_Stream0_IRQn interrupt configuration */
  HAL_NVIC_SetPriority(DMA2_Stream0_IRQn, 5, 0);
  HAL_NVIC_EnableIRQ(DMA2_Stream0_IRQn);
  /* DMA2_Stream1_IRQn interrupt configuration */
  HAL_NVIC_SetPriority(DMA2_Stream1_IRQn, 5, 0);
  HAL_NVIC_EnableIRQ(DMA2_Stream1_IRQn);

}

static void MX_GPIO_Init(void)
{
  GPIO_InitTypeDef GPIO_InitStruct = {0};

  /* GPIO Ports Clock Enable */
  __HAL_RCC_GPIOF_CLK_ENABLE();
  __HAL_RCC_GPIOH_CLK_ENABLE();
  __HAL_RCC_GPIOC_CLK_ENABLE();
  __HAL_RCC_GPIOA_CLK_ENABLE();
  __HAL_RCC_GPIOG_CLK_ENABLE();
  __HAL_RCC_GPIOE_CLK_ENABLE();
  __HAL_RCC_GPIOB_CLK_ENABLE();
  __HAL_RCC_GPIOD_CLK_ENABLE();

  /*Configure GPIO pin Output Level */
  HAL_GPIO_WritePin(GPIOE, EN13_Pin|EN12_Pin|EN19_Pin, GPIO_PIN_RESET);

  /*Configure GPIO pin Output Level */
  HAL_GPIO_WritePin(GPIOB, EN18_Pin|EN17_Pin|EN16_Pin|DIA_EN_Pin
                          |SEL2_Pin, GPIO_PIN_RESET);

  /*Configure GPIO pin Output Level */
  HAL_GPIO_WritePin(GPIOD, SEL1_Pin|EN11_Pin|EN10_Pin|EN15_Pin
                          |EN5_Pin|EN4_Pin, GPIO_PIN_RESET);

  /*Configure GPIO pin Output Level */
  HAL_GPIO_WritePin(GPIOG, LATCH_Pin|ADC_LED_Pin|STATUS_LED_Pin|FAULT_LED_Pin, GPIO_PIN_RESET);

  /*Configure GPIO pin Output Level */
  HAL_GPIO_WritePin(GPIOC, EN14_Pin|EN0_Pin|EN3_Pin|EN2_Pin, GPIO_PIN_RESET);

  /*Configure GPIO pin Output Level */
  HAL_GPIO_WritePin(GPIOA, EN9_Pin|EN8_Pin|EN7_Pin|EN6_Pin
                          |EN1_Pin, GPIO_PIN_RESET);

  /*Configure GPIO pin : SHAKE_INT_Pin */
  GPIO_InitStruct.Pin = SHAKE_INT_Pin;
  GPIO_InitStruct.Mode = GPIO_MODE_INPUT;
  GPIO_InitStruct.Pull = GPIO_NOPULL;
  HAL_GPIO_Init(SHAKE_INT_GPIO_Port, &GPIO_InitStruct);

  /*Configure GPIO pins : EN13_Pin EN12_Pin EN19_Pin */
  GPIO_InitStruct.Pin = EN13_Pin|EN12_Pin|EN19_Pin;
  GPIO_InitStruct.Mode = GPIO_MODE_OUTPUT_PP;
  GPIO_InitStruct.Pull = GPIO_NOPULL;
  GPIO_InitStruct.Speed = GPIO_SPEED_FREQ_LOW;
  HAL_GPIO_Init(GPIOE, &GPIO_InitStruct);

  /*Configure GPIO pins : EN18_Pin EN17_Pin EN16_Pin DIA_EN_Pin
                           SEL2_Pin */
  GPIO_InitStruct.Pin = EN18_Pin|EN17_Pin|EN16_Pin|DIA_EN_Pin
                          |SEL2_Pin;
  GPIO_InitStruct.Mode = GPIO_MODE_OUTPUT_PP;
  GPIO_InitStruct.Pull = GPIO_NOPULL;
  GPIO_InitStruct.Speed = GPIO_SPEED_FREQ_LOW;
  HAL_GPIO_Init(GPIOB, &GPIO_InitStruct);

  /*Configure GPIO pins : SEL1_Pin EN11_Pin EN10_Pin EN15_Pin
                           EN5_Pin EN4_Pin */
  GPIO_InitStruct.Pin = SEL1_Pin|EN11_Pin|EN10_Pin|EN15_Pin
                          |EN5_Pin|EN4_Pin;
  GPIO_InitStruct.Mode = GPIO_MODE_OUTPUT_PP;
  GPIO_InitStruct.Pull = GPIO_NOPULL;
  GPIO_InitStruct.Speed = GPIO_SPEED_FREQ_LOW;
  HAL_GPIO_Init(GPIOD, &GPIO_InitStruct);

  /*Configure GPIO pins : LATCH_Pin ADC_LED_Pin STATUS_LED_Pin FAULT_LED_Pin */
  GPIO_InitStruct.Pin = LATCH_Pin|ADC_LED_Pin|STATUS_LED_Pin|FAULT_LED_Pin;
  GPIO_InitStruct.Mode = GPIO_MODE_OUTPUT_PP;
  GPIO_InitStruct.Pull = GPIO_NOPULL;
  GPIO_InitStruct.Speed = GPIO_SPEED_FREQ_LOW;
  HAL_GPIO_Init(GPIOG, &GPIO_InitStruct);

  /*Configure GPIO pins : EN14_Pin EN0_Pin EN3_Pin EN2_Pin */
  GPIO_InitStruct.Pin = EN14_Pin|EN0_Pin|EN3_Pin|EN2_Pin;
  GPIO_InitStruct.Mode = GPIO_MODE_OUTPUT_PP;
  GPIO_InitStruct.Pull = GPIO_NOPULL;
  GPIO_InitStruct.Speed = GPIO_SPEED_FREQ_LOW;
  HAL_GPIO_Init(GPIOC, &GPIO_InitStruct);

  /*Configure GPIO pins : EN9_Pin EN8_Pin EN7_Pin EN6_Pin
                           EN1_Pin */
  GPIO_InitStruct.Pin = EN9_Pin|EN8_Pin|EN7_Pin|EN6_Pin
                          |EN1_Pin;
  GPIO_InitStruct.Mode = GPIO_MODE_OUTPUT_PP;
  GPIO_InitStruct.Pull = GPIO_NOPULL;
  GPIO_InitStruct.Speed = GPIO_SPEED_FREQ_LOW;
  HAL_GPIO_Init(GPIOA, &GPIO_InitStruct);

}

/* USER CODE BEGIN 4 */

void updateChannel(){
	for(int i = 0; i<20; i++){
		if(channelStatus[i] == 0){
			HAL_GPIO_WritePin(enable_GPIO_port[i],  enable_pin[i],  SET);
		}else{
			HAL_GPIO_WritePin(enable_GPIO_port[i],  enable_pin[i],  RESET);
		}
	}
}

uint16_t ifEssentialChannel(uint16_t channel){
	for(uint16_t i = 0; i<7; i++){
		if(channel == essentialChannels[i]){
			return 1;
		}
	}
	return 0;
}

/* USER CODE END 4 */

void task_main_loop(void const * argument)
{
  /* USER CODE BEGIN 5 */
	static U32 button_last_req_time = 0;
	U32 this_tick = 0;

  /* Infinite loop */
  for(;;)
  {
	  this_tick = HAL_GetTick();

	  // If the front DRS button is being held down, trun off pumps and fans

	  // request every 100ms
	  if (this_tick - button_last_req_time >= 100)
	  {
		  request_parameter(PRIO_LOW, TCM_ID, SW_AERO_REAR_ID);
		  button_last_req_time = this_tick;
	  }

	  // if the front aero button is being pressed and it is less than 200ms
	  // since the last response, turn off the pump and fans
	  if (sw_aero_rear.data == 1 && this_tick - sw_aero_rear.last_rx <= 200)
	  {
	      HAL_GPIO_WritePin(EN0_GPIO_Port, EN0_Pin, RESET);
		  HAL_GPIO_WritePin(EN14_GPIO_Port, EN14_Pin, RESET);
		  HAL_GPIO_WritePin(EN15_GPIO_Port, EN15_Pin, RESET);
		  HAL_GPIO_WritePin(EN1_GPIO_Port, EN1_Pin, RESET);
	  }
	  else
	  {
		  // keep these channels on, ECU will PWM
		  HAL_GPIO_WritePin(EN0_GPIO_Port, EN0_Pin, SET);
		  HAL_GPIO_WritePin(EN14_GPIO_Port, EN14_Pin, SET);
		  HAL_GPIO_WritePin(EN15_GPIO_Port, EN15_Pin, SET);
		  HAL_GPIO_WritePin(EN1_GPIO_Port, EN1_Pin, SET);
	  }

	  osDelay(1);
  }
  /* USER CODE END 5 */
}

void taskGCAN_TX_loop(void const * argument)
{
  /* USER CODE BEGIN taskGCAN_TX_loop */
  /* Infinite loop */
  for(;;)
  {
	  gopherCAN_tx_service_task();
	  osDelay(1);
  }
  /* USER CODE END taskGCAN_TX_loop */
}

void taskGCAN_RX_loop(void const * argument)
{
  /* USER CODE BEGIN taskGCAN_RX_loop */
  /* Infinite loop */
  for(;;)
  {
	gopherCAN_rx_buffer_service_task();
    osDelay(1);
  }
  /* USER CODE END taskGCAN_RX_loop */
}

void HAL_TIM_PeriodElapsedCallback(TIM_HandleTypeDef *htim)
{
  if (htim->Instance == TIM6) {
    HAL_IncTick();
  }
  /* USER CODE BEGIN Callback 1 */
  else	{
	DAQ_TimerCallback(htim);
  }
  /* USER CODE END Callback 1 */
}

void Error_Handler(void)
{
  __disable_irq();
  while (1)
  {
  }
}

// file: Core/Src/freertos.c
/* USER CODE BEGIN Header */
/**
  ******************************************************************************
  * File Name          : freertos.c
  * Description        : Code for freertos applications
  ******************************************************************************
  * @attention
  *
  * <h2><center>&copy; Copyright (c) 2021 STMicroelectronics.
  * All rights reserved.</center></h2>
  *
  * This software component is licensed by ST under Ultimate Liberty license
  * SLA0044, the "License"; You may not use this file except in compliance with
  * the License. You may obtain a copy of the License at:
  *                             www.st.com/SLA0044
  *
  ******************************************************************************
  */
/* USER CODE END Header */

#include "FreeRTOS.h"
#include "task.h"
#include "main.h"

/* GetIdleTaskMemory prototype (linked to static allocation support) */
void vApplicationGetIdleTaskMemory( StaticTask_t **ppxIdleTaskTCBBuffer, StackType_t **ppxIdleTaskStackBuffer, uint32_t *pulIdleTaskStackSize );

/* USER CODE BEGIN GET_IDLE_TASK_MEMORY */
static StaticTask_t xIdleTaskTCBBuffer;
static StackType_t xIdleStack[configMINIMAL_STACK_SIZE];

void vApplicationGetIdleTaskMemory( StaticTask_t **ppxIdleTaskTCBBuffer, StackType_t **ppxIdleTaskStackBuffer, uint32_t *pulIdleTaskStackSize )
{
  *ppxIdleTaskTCBBuffer = &xIdleTaskTCBBuffer;
  *ppxIdleTaskStackBuffer = &xIdleStack[0];
  *pulIdleTaskStackSize = configMINIMAL_STACK_SIZE;
  /* place for user code */
}
/* USER CODE END GET_IDLE_TASK_MEMORY */
